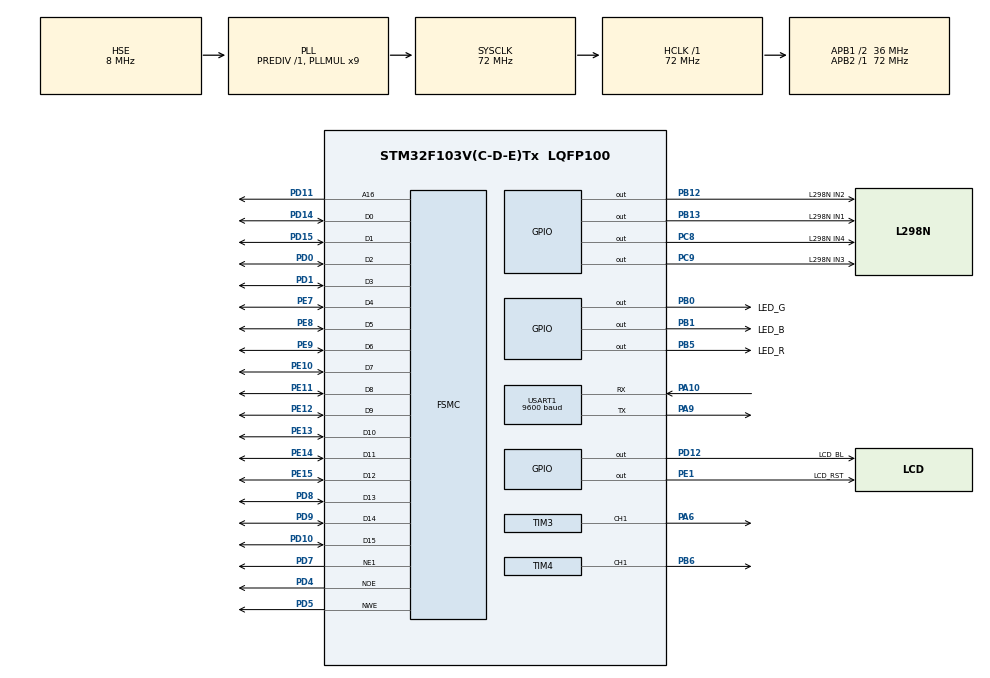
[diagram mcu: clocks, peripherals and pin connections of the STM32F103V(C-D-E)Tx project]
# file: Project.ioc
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Mcu.Family=STM32F1
Mcu.Name=STM32F103V(C-D-E)Tx
Mcu.Package=LQFP100
NVIC.PriorityGroup=NVIC_PRIORITYGROUP_4
OSC_IN.Mode=HSE-External-Oscillator
OSC_IN.Signal=RCC_OSC_IN
OSC_OUT.Mode=HSE-External-Oscillator
OSC_OUT.Signal=RCC_OSC_OUT
PA10.Mode=Asynchronous
PA10.Signal=USART1_RX
PA13.Mode=Serial_Wire
PA13.Signal=SYS_JTMS-SWDIO
PA14.Mode=Serial_Wire
PA14.Signal=SYS_JTCK-SWCLK
PA6.Signal=S_TIM3_CH1
PA9.Mode=Asynchronous
PA9.Signal=USART1_TX
PB0.GPIO_Label=LED_G
PB0.GPIO_Speed=GPIO_SPEED_FREQ_HIGH
PB0.PinState=GPIO_PIN_SET
PB0.Signal=GPIO_Output
PB1.GPIO_Label=LED_B
PB1.GPIO_Speed=GPIO_SPEED_FREQ_HIGH
PB1.PinState=GPIO_PIN_SET
PB1.Signal=GPIO_Output
PB12.GPIO_Label=L298N IN2
PB12.GPIO_Speed=GPIO_SPEED_FREQ_HIGH
PB12.Signal=GPIO_Output
PB13.GPIO_Label=L298N IN1
PB13.GPIO_Speed=GPIO_SPEED_FREQ_HIGH
PB13.Signal=GPIO_Output
PB5.GPIO_Label=LED_R
PB5.GPIO_Speed=GPIO_SPEED_FREQ_HIGH
PB5.PinState=GPIO_PIN_SET
PB5.Signal=GPIO_Output
PB6.Signal=S_TIM4_CH1
PC14-OSC32_IN.Mode=LSE-External-Oscillator
PC14-OSC32_IN.Signal=RCC_OSC32_IN
PC15-OSC32_OUT.Mode=LSE-External-Oscillator
PC15-OSC32_OUT.Signal=RCC_OSC32_OUT
PC8.GPIO_Label=L298N IN4
PC8.GPIO_Speed=GPIO_SPEED_FREQ_HIGH
PC8.Signal=GPIO_Output
PC9.GPIO_Label=L298N IN3
PC9.GPIO_Speed=GPIO_SPEED_FREQ_HIGH
PC9.Signal=GPIO_Output
PD0.Mode=16b-d1
PD0.Signal=FSMC_D2
PD1.Mode=16b-d1
PD1.Signal=FSMC_D3
PD10.Mode=16b-d1
PD10.Signal=FSMC_D15
PD11.Mode=A16_1
PD11.Signal=FSMC_A16
PD12.GPIO_Label=LCD_BL
PD12.GPIO_Speed=GPIO_SPEED_FREQ_HIGH
PD12.Signal=GPIO_Output
PD14.Mode=16b-d1
PD14.Signal=FSMC_D0
PD15.Mode=16b-d1
PD15.Signal=FSMC_D1
PD4.Mode=Lcd1
PD4.Signal=FSMC_NOE
PD5.Mode=Lcd1
PD5.Signal=FSMC_NWE
PD7.Mode=NorPsramChipSelect1_1
PD7.Signal=FSMC_NE1
PD8.Mode=16b-d1
PD8.Signal=FSMC_D13
PD9.Mode=16b-d1
PD9.Signal=FSMC_D14
PE1.GPIO_Label=LCD_RST
PE1.GPIO_Speed=GPIO_SPEED_FREQ_HIGH
PE1.Signal=GPIO_Output
PE10.Mode=16b-d1
PE10.Signal=FSMC_D7
PE11.Mode=16b-d1
PE11.Signal=FSMC_D8
PE12.Mode=16b-d1
PE12.Signal=FSMC_D9
PE13.Mode=16b-d1
PE13.Signal=FSMC_D10
PE14.Mode=16b-d1
PE14.Signal=FSMC_D11
PE15.Mode=16b-d1
PE15.Signal=FSMC_D12
PE7.Mode=16b-d1
PE7.Signal=FSMC_D4
PE8.Mode=16b-d1
PE8.Signal=FSMC_D5
PE9.Mode=16b-d1
PE9.Signal=FSMC_D6
ProjectManager.HeapSize=0x200
ProjectManager.StackSize=0x400
ProjectManager.TargetToolchain=MDK-ARM V5
RCC.AHBFreq_Value=72000000
RCC.APB1CLKDivider=RCC_HCLK_DIV2
RCC.APB1Freq_Value=36000000
RCC.APB1TimFreq_Value=72000000
RCC.APB2Freq_Value=72000000
RCC.APB2TimFreq_Value=72000000
RCC.HCLKFreq_Value=72000000
RCC.PLLMUL=RCC_PLL_MUL9
RCC.PLLSourceVirtual=RCC_PLLSOURCE_HSE
RCC.SYSCLKFreq_VALUE=72000000
RCC.SYSCLKSource=RCC_SYSCLKSOURCE_PLLCLK
RCC.USBFreq_Value=72000000
SH.S_TIM3_CH1.0=TIM3_CH1,PWM Generation1 CH1
SH.S_TIM4_CH1.0=TIM4_CH1,PWM Generation1 CH1
TIM3.Channel-PWM\ Generation1\ CH1=TIM_CHANNEL_1
TIM3.Period=35999
TIM3.Pulse-PWM\ Generation1\ CH1=4680
TIM4.Channel-PWM\ Generation1\ CH1=TIM_CHANNEL_1
TIM4.Period=35999
TIM4.Pulse-PWM\ Generation1\ CH1=25920
USART1.BaudRate=9600
USART1.VirtualMode=VM_ASYNC
VP_TIM3_VS_ClockSourceINT.Mode=Internal
VP_TIM4_VS_ClockSourceINT.Mode=Internal
board=custom

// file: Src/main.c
/* USER CODE BEGIN Header */
/**
  ******************************************************************************
  * @file           : main.c
  * @brief          : Main program body
  ******************************************************************************
  * @attention
  *
  * <h2><center>&copy; Copyright (c) 2022 STMicroelectronics.
  * All rights reserved.</center></h2>
  *
  * This software component is licensed by ST under BSD 3-Clause license,
  * the "License"; You may not use this file except in compliance with the
  * License. You may obtain a copy of the License at:
  *                        opensource.org/licenses/BSD-3-Clause
  *
  ******************************************************************************
  */
/* USER CODE END Header */

#include "main.h"

/* USER CODE BEGIN Includes */
#include "lcd.h"
/* USER CODE END Includes */

TIM_HandleTypeDef htim3;
TIM_HandleTypeDef htim4;

UART_HandleTypeDef huart1;

SRAM_HandleTypeDef hsram1;

void SystemClock_Config(void);
static void MX_GPIO_Init(void);
static void MX_USART1_UART_Init(void);
static void MX_FSMC_Init(void);
static void MX_TIM4_Init(void);
static void MX_TIM3_Init(void);

/* USER CODE BEGIN 0 */
uint8_t rxdata;
char str[25];
const char item[10][22] = {
{"Pen"},
{"Mechanical pencil"},
{"Zip tie"},
{"Adhesive tape"},
{"Cutter"},
{"Eraser"},
{"Ruler"},
{"Marker"},
{"A4 Paper"},
{"Correction Tape"}};

void pwm_TIM3_value(uint16_t value)
{
    TIM_OC_InitTypeDef sConfigOC;
    sConfigOC.OCMode = TIM_OCMODE_PWM1;
    sConfigOC.Pulse = value;
    sConfigOC.OCPolarity = TIM_OCPOLARITY_HIGH;
    sConfigOC.OCFastMode = TIM_OCFAST_DISABLE;
    HAL_TIM_PWM_ConfigChannel(&htim3, &sConfigOC, TIM_CHANNEL_1);
    HAL_TIM_PWM_Start(&htim3, TIM_CHANNEL_1);
}
void pwm_TIM4_value(uint16_t value)
{
    TIM_OC_InitTypeDef sConfigOC;
    sConfigOC.OCMode = TIM_OCMODE_PWM1;
    sConfigOC.Pulse = value;
    sConfigOC.OCPolarity = TIM_OCPOLARITY_HIGH;
    sConfigOC.OCFastMode = TIM_OCFAST_DISABLE;
    HAL_TIM_PWM_ConfigChannel(&htim4, &sConfigOC, TIM_CHANNEL_1);
    HAL_TIM_PWM_Start(&htim4, TIM_CHANNEL_1);
}

void LCD_list(){
	LCD_DrawString(20, 10, "Shopping List:");
	for(int i=0,j=1; i<=9; i++){
		if(item[i][0] != '\0'){
			sprintf(str,"%d. %s",j,item[i]);
			LCD_DrawString(20,34+24*(j-1),str);
			j++;
		}
	}
}

/* USER CODE END 0 */

int main(void)
{

  /* MCU Configuration--------------------------------------------------------*/

  /* Reset of all peripherals, Initializes the Flash interface and the Systick. */
  HAL_Init();

  /* Configure the system clock */
  SystemClock_Config();

  /* Initialize all configured peripherals */
  MX_GPIO_Init();
  MX_USART1_UART_Init();
  MX_FSMC_Init();
  MX_TIM4_Init();
  MX_TIM3_Init();
  /* USER CODE BEGIN 2 */
	LCD_INIT();
	HAL_TIM_PWM_Start(&htim3, TIM_CHANNEL_1);
	HAL_TIM_PWM_Start(&htim4, TIM_CHANNEL_1);
	LCD_list();
  /* USER CODE END 2 */

  /* Infinite loop */
  while (1)
  {

    /* USER CODE BEGIN 3 */
		if(HAL_UART_Receive(&huart1,&rxdata,1,100) == HAL_OK){
		switch (rxdata)
		{
			case 'F':
				HAL_GPIO_WritePin(GPIOB, GPIO_PIN_12, GPIO_PIN_RESET);	//L1
				HAL_GPIO_WritePin(GPIOB, GPIO_PIN_13, GPIO_PIN_SET);	  //L2
				HAL_GPIO_WritePin(GPIOC, GPIO_PIN_8, GPIO_PIN_RESET); 	//R1
				HAL_GPIO_WritePin(GPIOC, GPIO_PIN_9, GPIO_PIN_SET);			//R2
				HAL_GPIO_WritePin(GPIOB, GPIO_PIN_5, GPIO_PIN_RESET);
				HAL_GPIO_WritePin(GPIOB, GPIO_PIN_0, GPIO_PIN_SET);			//red
				HAL_GPIO_WritePin(GPIOB, GPIO_PIN_1, GPIO_PIN_SET);
			break;
			case 'L':
				HAL_GPIO_WritePin(GPIOB, GPIO_PIN_12, GPIO_PIN_SET);    //L1
				HAL_GPIO_WritePin(GPIOB, GPIO_PIN_13, GPIO_PIN_RESET);	//L2
				HAL_GPIO_WritePin(GPIOC, GPIO_PIN_8, GPIO_PIN_RESET); 	//R1
				HAL_GPIO_WritePin(GPIOC, GPIO_PIN_9, GPIO_PIN_SET);   	//R2
				HAL_GPIO_WritePin(GPIOB, GPIO_PIN_5, GPIO_PIN_SET);
				HAL_GPIO_WritePin(GPIOB, GPIO_PIN_0, GPIO_PIN_RESET);		//green
				HAL_GPIO_WritePin(GPIOB, GPIO_PIN_1, GPIO_PIN_SET);
			break;
			case 'B':
				HAL_GPIO_WritePin(GPIOB, GPIO_PIN_12, GPIO_PIN_SET);	  //L1
				HAL_GPIO_WritePin(GPIOB, GPIO_PIN_13, GPIO_PIN_RESET);	//L2
				HAL_GPIO_WritePin(GPIOC, GPIO_PIN_8, GPIO_PIN_SET); 	  //R1
				HAL_GPIO_WritePin(GPIOC, GPIO_PIN_9, GPIO_PIN_RESET);   //R2
				HAL_GPIO_WritePin(GPIOB, GPIO_PIN_5, GPIO_PIN_RESET);
				HAL_GPIO_WritePin(GPIOB, GPIO_PIN_0, GPIO_PIN_RESET);   //white
				HAL_GPIO_WritePin(GPIOB, GPIO_PIN_1, GPIO_PIN_RESET);
			break;
			case 'R':
				HAL_GPIO_WritePin(GPIOB, GPIO_PIN_12, GPIO_PIN_RESET);	//L1
				HAL_GPIO_WritePin(GPIOB, GPIO_PIN_13, GPIO_PIN_SET);	  //L2
				HAL_GPIO_WritePin(GPIOC, GPIO_PIN_8, GPIO_PIN_SET); 	  //R1
				HAL_GPIO_WritePin(GPIOC, GPIO_PIN_9, GPIO_PIN_RESET);   //R2
				HAL_GPIO_WritePin(GPIOB, GPIO_PIN_5, GPIO_PIN_SET);
				HAL_GPIO_WritePin(GPIOB, GPIO_PIN_0, GPIO_PIN_RESET);   //green
				HAL_GPIO_WritePin(GPIOB, GPIO_PIN_1, GPIO_PIN_SET);
			break;
			case 'S':
				HAL_GPIO_WritePin(GPIOB, GPIO_PIN_12, GPIO_PIN_RESET);  //L1
				HAL_GPIO_WritePin(GPIOB, GPIO_PIN_13, GPIO_PIN_RESET);	//L2
				HAL_GPIO_WritePin(GPIOC, GPIO_PIN_8, GPIO_PIN_RESET); 	//R1
				HAL_GPIO_WritePin(GPIOC, GPIO_PIN_9, GPIO_PIN_RESET);		//R2
				HAL_GPIO_WritePin(GPIOB, GPIO_PIN_5, GPIO_PIN_SET);
				HAL_GPIO_WritePin(GPIOB, GPIO_PIN_0, GPIO_PIN_SET);     //off
				HAL_GPIO_WritePin(GPIOB, GPIO_PIN_1, GPIO_PIN_SET);
			break;
			case '0':
				pwm_TIM3_value(0);
				pwm_TIM4_value(0);
			break;
			case '1':
				pwm_TIM3_value(29000);	//80.5%
				pwm_TIM4_value(29000);
			break;
			case '2':
				pwm_TIM3_value(30600);
				pwm_TIM4_value(30600);
			break;
			case '3':
				pwm_TIM3_value(32400);
				pwm_TIM4_value(32400);
			break;
			case '4':
				pwm_TIM3_value(34200);
				pwm_TIM4_value(34200);
			break;
			case '5':
				pwm_TIM3_value(36000);
				pwm_TIM4_value(36000);
			break;
			case 'Q':
				LCD_Clear (0, 0, 240, 320, BACKGROUND);
				LCD_QRcode();
			break;
			case 'H':
				LCD_Clear (0, 0, 240, 320, BACKGROUND);
				LCD_list();
			break;
			}
		}
	}
  /* USER CODE END 3 */
}

void SystemClock_Config(void)
{
  RCC_OscInitTypeDef RCC_OscInitStruct = {0};
  RCC_ClkInitTypeDef RCC_ClkInitStruct = {0};

  /** Initializes the CPU, AHB and APB busses clocks
  */
  RCC_OscInitStruct.OscillatorType = RCC_OSCILLATORTYPE_HSE;
  RCC_OscInitStruct.HSEState = RCC_HSE_ON;
  RCC_OscInitStruct.HSEPredivValue = RCC_HSE_PREDIV_DIV1;
  RCC_OscInitStruct.HSIState = RCC_HSI_ON;
  RCC_OscInitStruct.PLL.PLLState = RCC_PLL_ON;
  RCC_OscInitStruct.PLL.PLLSource = RCC_PLLSOURCE_HSE;
  RCC_OscInitStruct.PLL.PLLMUL = RCC_PLL_MUL9;
  if (HAL_RCC_OscConfig(&RCC_OscInitStruct) != HAL_OK)
  {
    Error_Handler();
  }
  /** Initializes the CPU, AHB and APB busses clocks
  */
  RCC_ClkInitStruct.ClockType = RCC_CLOCKTYPE_HCLK|RCC_CLOCKTYPE_SYSCLK
                              |RCC_CLOCKTYPE_PCLK1|RCC_CLOCKTYPE_PCLK2;
  RCC_ClkInitStruct.SYSCLKSource = RCC_SYSCLKSOURCE_PLLCLK;
  RCC_ClkInitStruct.AHBCLKDivider = RCC_SYSCLK_DIV1;
  RCC_ClkInitStruct.APB1CLKDivider = RCC_HCLK_DIV2;
  RCC_ClkInitStruct.APB2CLKDivider = RCC_HCLK_DIV1;

  if (HAL_RCC_ClockConfig(&RCC_ClkInitStruct, FLASH_LATENCY_2) != HAL_OK)
  {
    Error_Handler();
  }
}

static void MX_TIM3_Init(void)
{

  TIM_ClockConfigTypeDef sClockSourceConfig = {0};
  TIM_MasterConfigTypeDef sMasterConfig = {0};
  TIM_OC_InitTypeDef sConfigOC = {0};

  htim3.Instance = TIM3;
  htim3.Init.Prescaler = 0;
  htim3.Init.CounterMode = TIM_COUNTERMODE_UP;
  htim3.Init.Period = 35999;
  htim3.Init.ClockDivision = TIM_CLOCKDIVISION_DIV1;
  htim3.Init.AutoReloadPreload = TIM_AUTORELOAD_PRELOAD_DISABLE;
  if (HAL_TIM_Base_Init(&htim3) != HAL_OK)
  {
    Error_Handler();
  }
  sClockSourceConfig.ClockSource = TIM_CLOCKSOURCE_INTERNAL;
  if (HAL_TIM_ConfigClockSource(&htim3, &sClockSourceConfig) != HAL_OK)
  {
    Error_Handler();
  }
  if (HAL_TIM_PWM_Init(&htim3) != HAL_OK)
  {
    Error_Handler();
  }
  sMasterConfig.MasterOutputTrigger = TIM_TRGO_RESET;
  sMasterConfig.MasterSlaveMode = TIM_MASTERSLAVEMODE_DISABLE;
  if (HAL_TIMEx_MasterConfigSynchronization(&htim3, &sMasterConfig) != HAL_OK)
  {
    Error_Handler();
  }
  sConfigOC.OCMode = TIM_OCMODE_PWM1;
  sConfigOC.Pulse = 4680;
  sConfigOC.OCPolarity = TIM_OCPOLARITY_HIGH;
  sConfigOC.OCFastMode = TIM_OCFAST_DISABLE;
  if (HAL_TIM_PWM_ConfigChannel(&htim3, &sConfigOC, TIM_CHANNEL_1) != HAL_OK)
  {
    Error_Handler();
  }
  HAL_TIM_MspPostInit(&htim3);

}

static void MX_TIM4_Init(void)
{

  TIM_ClockConfigTypeDef sClockSourceConfig = {0};
  TIM_MasterConfigTypeDef sMasterConfig = {0};
  TIM_OC_InitTypeDef sConfigOC = {0};

  htim4.Instance = TIM4;
  htim4.Init.Prescaler = 0;
  htim4.Init.CounterMode = TIM_COUNTERMODE_UP;
  htim4.Init.Period = 35999;
  htim4.Init.ClockDivision = TIM_CLOCKDIVISION_DIV1;
  htim4.Init.AutoReloadPreload = TIM_AUTORELOAD_PRELOAD_DISABLE;
  if (HAL_TIM_Base_Init(&htim4) != HAL_OK)
  {
    Error_Handler();
  }
  sClockSourceConfig.ClockSource = TIM_CLOCKSOURCE_INTERNAL;
  if (HAL_TIM_ConfigClockSource(&htim4, &sClockSourceConfig) != HAL_OK)
  {
    Error_Handler();
  }
  if (HAL_TIM_PWM_Init(&htim4) != HAL_OK)
  {
    Error_Handler();
  }
  sMasterConfig.MasterOutputTrigger = TIM_TRGO_RESET;
  sMasterConfig.MasterSlaveMode = TIM_MASTERSLAVEMODE_DISABLE;
  if (HAL_TIMEx_MasterConfigSynchronization(&htim4, &sMasterConfig) != HAL_OK)
  {
    Error_Handler();
  }
  sConfigOC.OCMode = TIM_OCMODE_PWM1;
  sConfigOC.Pulse = 25920;
  sConfigOC.OCPolarity = TIM_OCPOLARITY_HIGH;
  sConfigOC.OCFastMode = TIM_OCFAST_DISABLE;
  if (HAL_TIM_PWM_ConfigChannel(&htim4, &sConfigOC, TIM_CHANNEL_1) != HAL_OK)
  {
    Error_Handler();
  }
  HAL_TIM_MspPostInit(&htim4);

}

static void MX_USART1_UART_Init(void)
{

  huart1.Instance = USART1;
  huart1.Init.BaudRate = 9600;
  huart1.Init.WordLength = UART_WORDLENGTH_8B;
  huart1.Init.StopBits = UART_STOPBITS_1;
  huart1.Init.Parity = UART_PARITY_NONE;
  huart1.Init.Mode = UART_MODE_TX_RX;
  huart1.Init.HwFlowCtl = UART_HWCONTROL_NONE;
  huart1.Init.OverSampling = UART_OVERSAMPLING_16;
  if (HAL_UART_Init(&huart1) != HAL_OK)
  {
    Error_Handler();
  }

}

static void MX_GPIO_Init(void)
{
  GPIO_InitTypeDef GPIO_InitStruct = {0};

  /* GPIO Ports Clock Enable */
  __HAL_RCC_GPIOC_CLK_ENABLE();
  __HAL_RCC_GPIOA_CLK_ENABLE();
  __HAL_RCC_GPIOB_CLK_ENABLE();
  __HAL_RCC_GPIOE_CLK_ENABLE();
  __HAL_RCC_GPIOD_CLK_ENABLE();

  /*Configure GPIO pin Output Level */
  HAL_GPIO_WritePin(GPIOB, LED_G_Pin|LED_B_Pin|LED_R_Pin, GPIO_PIN_SET);

  /*Configure GPIO pin Output Level */
  HAL_GPIO_WritePin(GPIOB, L298N_IN2_Pin|L298N_IN1_Pin, GPIO_PIN_RESET);

  /*Configure GPIO pin Output Level */
  HAL_GPIO_WritePin(LCD_BL_GPIO_Port, LCD_BL_Pin, GPIO_PIN_RESET);

  /*Configure GPIO pin Output Level */
  HAL_GPIO_WritePin(GPIOC, L298N_IN4_Pin|L298N_IN3_Pin, GPIO_PIN_RESET);

  /*Configure GPIO pin Output Level */
  HAL_GPIO_WritePin(LCD_RST_GPIO_Port, LCD_RST_Pin, GPIO_PIN_RESET);

  /*Configure GPIO pins : LED_G_Pin LED_B_Pin L298N_IN2_Pin L298N_IN1_Pin
                           LED_R_Pin */
  GPIO_InitStruct.Pin = LED_G_Pin|LED_B_Pin|L298N_IN2_Pin|L298N_IN1_Pin
                          |LED_R_Pin;
  GPIO_InitStruct.Mode = GPIO_MODE_OUTPUT_PP;
  GPIO_InitStruct.Pull = GPIO_NOPULL;
  GPIO_InitStruct.Speed = GPIO_SPEED_FREQ_HIGH;
  HAL_GPIO_Init(GPIOB, &GPIO_InitStruct);

  /*Configure GPIO pin : LCD_BL_Pin */
  GPIO_InitStruct.Pin = LCD_BL_Pin;
  GPIO_InitStruct.Mode = GPIO_MODE_OUTPUT_PP;
  GPIO_InitStruct.Pull = GPIO_NOPULL;
  GPIO_InitStruct.Speed = GPIO_SPEED_FREQ_HIGH;
  HAL_GPIO_Init(LCD_BL_GPIO_Port, &GPIO_InitStruct);

  /*Configure GPIO pins : L298N_IN4_Pin L298N_IN3_Pin */
  GPIO_InitStruct.Pin = L298N_IN4_Pin|L298N_IN3_Pin;
  GPIO_InitStruct.Mode = GPIO_MODE_OUTPUT_PP;
  GPIO_InitStruct.Pull = GPIO_NOPULL;
  GPIO_InitStruct.Speed = GPIO_SPEED_FREQ_HIGH;
  HAL_GPIO_Init(GPIOC, &GPIO_InitStruct);

  /*Configure GPIO pin : LCD_RST_Pin */
  GPIO_InitStruct.Pin = LCD_RST_Pin;
  GPIO_InitStruct.Mode = GPIO_MODE_OUTPUT_PP;
  GPIO_InitStruct.Pull = GPIO_NOPULL;
  GPIO_InitStruct.Speed = GPIO_SPEED_FREQ_HIGH;
  HAL_GPIO_Init(LCD_RST_GPIO_Port, &GPIO_InitStruct);

}

/* FSMC initialization function */
static void MX_FSMC_Init(void)
{

  FSMC_NORSRAM_TimingTypeDef Timing = {0};

  /** Perform the SRAM1 memory initialization sequence
  */
  hsram1.Instance = FSMC_NORSRAM_DEVICE;
  hsram1.Extended = FSMC_NORSRAM_EXTENDED_DEVICE;
  /* hsram1.Init */
  hsram1.Init.NSBank = FSMC_NORSRAM_BANK1;
  hsram1.Init.DataAddressMux = FSMC_DATA_ADDRESS_MUX_DISABLE;
  hsram1.Init.MemoryType = FSMC_MEMORY_TYPE_SRAM;
  hsram1.Init.MemoryDataWidth = FSMC_NORSRAM_MEM_BUS_WIDTH_16;
  hsram1.Init.BurstAccessMode = FSMC_BURST_ACCESS_MODE_DISABLE;
  hsram1.Init.WaitSignalPolarity = FSMC_WAIT_SIGNAL_POLARITY_LOW;
  hsram1.Init.WrapMode = FSMC_WRAP_MODE_DISABLE;
  hsram1.Init.WaitSignalActive = FSMC_WAIT_TIMING_BEFORE_WS;
  hsram1.Init.WriteOperation = FSMC_WRITE_OPERATION_ENABLE;
  hsram1.Init.WaitSignal = FSMC_WAIT_SIGNAL_DISABLE;
  hsram1.Init.ExtendedMode = FSMC_EXTENDED_MODE_DISABLE;
  hsram1.Init.AsynchronousWait = FSMC_ASYNCHRONOUS_WAIT_DISABLE;
  hsram1.Init.WriteBurst = FSMC_WRITE_BURST_DISABLE;
  /* Timing */
  Timing.AddressSetupTime = 15;
  Timing.AddressHoldTime = 15;
  Timing.DataSetupTime = 255;
  Timing.BusTurnAroundDuration = 15;
  Timing.CLKDivision = 16;
  Timing.DataLatency = 17;
  Timing.AccessMode = FSMC_ACCESS_MODE_A;
  /* ExtTiming */

  if (HAL_SRAM_Init(&hsram1, &Timing, NULL) != HAL_OK)
  {
    Error_Handler( );
  }

  /** Disconnect NADV
  */

  __HAL_AFIO_FSMCNADV_DISCONNECTED();

}

void Error_Handler(void)
{
}

/************************ (C) COPYRIGHT STMicroelectronics *****END OF FILE****/
